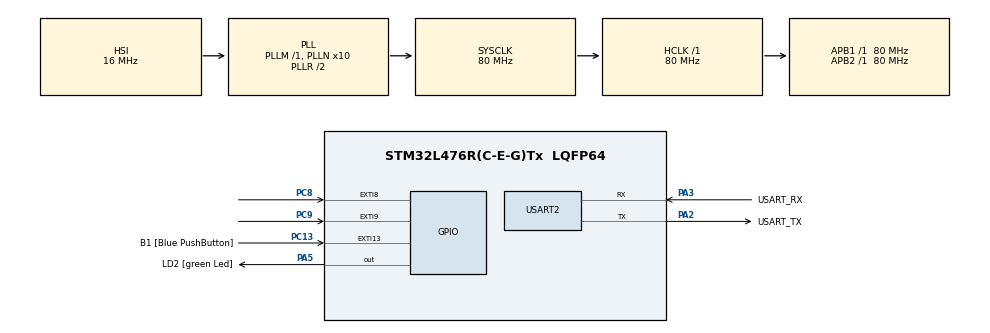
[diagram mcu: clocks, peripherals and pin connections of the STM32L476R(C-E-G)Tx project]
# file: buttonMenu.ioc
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Mcu.Family=STM32L4
Mcu.Name=STM32L476R(C-E-G)Tx
Mcu.Package=LQFP64
NVIC.EXTI9_5_IRQn=true\:0\:0\:false\:false\:true\:true\:true\:true
NVIC.PriorityGroup=NVIC_PRIORITYGROUP_4
NVIC.USART2_IRQn=true\:0\:0\:false\:false\:true\:true\:true\:true
PA13\ (JTMS-SWDIO).GPIO_Label=TMS
PA13\ (JTMS-SWDIO).Signal=SYS_JTMS-SWDIO
PA14\ (JTCK-SWCLK).GPIO_Label=TCK
PA14\ (JTCK-SWCLK).Signal=SYS_JTCK-SWCLK
PA2.GPIO_Label=USART_TX
PA2.GPIO_Mode=GPIO_MODE_AF_PP
PA2.GPIO_PuPd=GPIO_NOPULL
PA2.GPIO_Speed=GPIO_SPEED_FREQ_VERY_HIGH
PA2.Mode=Asynchronous
PA2.Signal=USART2_TX
PA3.GPIO_Label=USART_RX
PA3.GPIO_Mode=GPIO_MODE_AF_PP
PA3.GPIO_PuPd=GPIO_NOPULL
PA3.GPIO_Speed=GPIO_SPEED_FREQ_VERY_HIGH
PA3.Mode=Asynchronous
PA3.Signal=USART2_RX
PA5.GPIO_Label=LD2 [green Led]
PA5.GPIO_ModeDefaultOutputPP=GPIO_MODE_OUTPUT_PP
PA5.GPIO_PuPd=GPIO_NOPULL
PA5.GPIO_Speed=GPIO_SPEED_FREQ_LOW
PA5.Signal=GPIO_Output
PB3\ (JTDO-TRACESWO).GPIO_Label=SWO
PB3\ (JTDO-TRACESWO).Signal=SYS_JTDO-SWO
PC13.GPIO_Label=B1 [Blue PushButton]
PC13.GPIO_ModeDefaultEXTI=GPIO_MODE_IT_FALLING
PC13.GPIO_PuPd=GPIO_NOPULL
PC13.Signal=GPXTI13
PC14-OSC32_IN\ (PC14).Signal=RCC_OSC32_IN
PC15-OSC32_OUT\ (PC15).Signal=RCC_OSC32_OUT
PC8.GPIO_ModeDefaultEXTI=GPIO_MODE_IT_FALLING
PC8.Signal=GPXTI8
PC9.GPIO_ModeDefaultEXTI=GPIO_MODE_IT_FALLING
PC9.Signal=GPXTI9
PH0-OSC_IN\ (PH0).Signal=RCC_OSC_IN
PH1-OSC_OUT\ (PH1).Signal=RCC_OSC_OUT
ProjectManager.HeapSize=0x200
ProjectManager.StackSize=0x400
ProjectManager.TargetToolchain=STM32CubeIDE
RCC.ADCFreq_Value=64000000
RCC.AHBFreq_Value=80000000
RCC.APB1Freq_Value=80000000
RCC.APB1TimFreq_Value=80000000
RCC.APB2Freq_Value=80000000
RCC.APB2TimFreq_Value=80000000
RCC.CortexFreq_Value=80000000
RCC.HCLKFreq_Value=80000000
RCC.HSE_VALUE=8000000
RCC.HSI_VALUE=16000000
RCC.LSE_VALUE=32768
RCC.MSI_VALUE=4000000
RCC.PLLN=10
RCC.PLLSourceVirtual=RCC_PLLSOURCE_HSI
RCC.PREFETCH_ENABLE=1
RCC.SYSCLKFreq_VALUE=80000000
RCC.SYSCLKSource=RCC_SYSCLKSOURCE_PLLCLK
RCC.USBFreq_Value=64000000
RCC.VCOOutputFreq_Value=160000000
USART2.VirtualMode-Asynchronous=VM_ASYNC
board=NUCLEO-L476RG

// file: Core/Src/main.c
/* USER CODE BEGIN Header */
/**
  ******************************************************************************
  * @file           : main.c
  * @brief          : Main program body
  ******************************************************************************
  * @attention
  *
  * Copyright (c) 2026 STMicroelectronics.
  * All rights reserved.
  *
  * This software is licensed under terms that can be found in the LICENSE file
  * in the root directory of this software component.
  * If no LICENSE file comes with this software, it is provided AS-IS.
  *
  ******************************************************************************
  */
/* USER CODE END Header */
#include "main.h"

/* USER CODE BEGIN Includes */
#include <string.h>
/* USER CODE END Includes */

/* USER CODE BEGIN PTD */
enum dStates {PARK, REVERSE, NEUTRAL, DRIVE};	/* enumeration of states (C programming, p) */
/* USER CODE END PTD */

UART_HandleTypeDef huart2;

/* USER CODE BEGIN PV */
int dState = PARK;
/* USER CODE END PV */

void SystemClock_Config(void);
static void MX_GPIO_Init(void);
static void MX_USART2_UART_Init(void);

int main(void)
{

  /* USER CODE BEGIN 1 */
	uint8_t gear[22];

  /* USER CODE END 1 */

  /* MCU Configuration--------------------------------------------------------*/

  /* Reset of all peripherals, Initializes the Flash interface and the Systick. */
  HAL_Init();

  /* Configure the system clock */
  SystemClock_Config();

  /* Initialize all configured peripherals */
  MX_GPIO_Init();
  MX_USART2_UART_Init();

  /* Infinite loop */
  /* USER CODE BEGIN WHILE */
  while (1)
  {
	  switch (dState) {
	  	  case PARK:
	  		  strcpy((char*)gear, "Park\r\n");
	  		  break;
	  	  case REVERSE:
	  		  strcpy((char*)gear, "Reverse\r\n");
	  		  		  break;
	  	  case NEUTRAL:
	  	  		  strcpy((char*)gear, "Neutral\r\n");
	  	  		  break;
	  	  case DRIVE:
	  	  		strcpy((char*)gear, "Drive\r\n");
	  	  		break;
	  	  default:
	  		  strcpy((char*)gear, "Something is wrong\r\n");  // In this case, this should not ever be executed. Try misspelling one of the states...(the compiler will catch that).
	  		  break;
	  	  }
	  	  HAL_UART_Transmit(&huart2, (uint8_t*)gear, strlen((char*)gear), HAL_MAX_DELAY);
    /* USER CODE END WHILE */

  }
}

void SystemClock_Config(void)
{
  RCC_OscInitTypeDef RCC_OscInitStruct = {0};
  RCC_ClkInitTypeDef RCC_ClkInitStruct = {0};

  /** Configure the main internal regulator output voltage
  */
  if (HAL_PWREx_ControlVoltageScaling(PWR_REGULATOR_VOLTAGE_SCALE1) != HAL_OK)
  {
    Error_Handler();
  }

  /** Initializes the RCC Oscillators according to the specified parameters
  * in the RCC_OscInitTypeDef structure.
  */
  RCC_OscInitStruct.OscillatorType = RCC_OSCILLATORTYPE_HSI;
  RCC_OscInitStruct.HSIState = RCC_HSI_ON;
  RCC_OscInitStruct.HSICalibrationValue = RCC_HSICALIBRATION_DEFAULT;
  RCC_OscInitStruct.PLL.PLLState = RCC_PLL_ON;
  RCC_OscInitStruct.PLL.PLLSource = RCC_PLLSOURCE_HSI;
  RCC_OscInitStruct.PLL.PLLM = 1;
  RCC_OscInitStruct.PLL.PLLN = 10;
  RCC_OscInitStruct.PLL.PLLP = RCC_PLLP_DIV7;
  RCC_OscInitStruct.PLL.PLLQ = RCC_PLLQ_DIV2;
  RCC_OscInitStruct.PLL.PLLR = RCC_PLLR_DIV2;
  if (HAL_RCC_OscConfig(&RCC_OscInitStruct) != HAL_OK)
  {
    Error_Handler();
  }

  /** Initializes the CPU, AHB and APB buses clocks
  */
  RCC_ClkInitStruct.ClockType = RCC_CLOCKTYPE_HCLK|RCC_CLOCKTYPE_SYSCLK
                              |RCC_CLOCKTYPE_PCLK1|RCC_CLOCKTYPE_PCLK2;
  RCC_ClkInitStruct.SYSCLKSource = RCC_SYSCLKSOURCE_PLLCLK;
  RCC_ClkInitStruct.AHBCLKDivider = RCC_SYSCLK_DIV1;
  RCC_ClkInitStruct.APB1CLKDivider = RCC_HCLK_DIV1;
  RCC_ClkInitStruct.APB2CLKDivider = RCC_HCLK_DIV1;

  if (HAL_RCC_ClockConfig(&RCC_ClkInitStruct, FLASH_LATENCY_4) != HAL_OK)
  {
    Error_Handler();
  }
}

static void MX_USART2_UART_Init(void)
{

  huart2.Instance = USART2;
  huart2.Init.BaudRate = 115200;
  huart2.Init.WordLength = UART_WORDLENGTH_8B;
  huart2.Init.StopBits = UART_STOPBITS_1;
  huart2.Init.Parity = UART_PARITY_NONE;
  huart2.Init.Mode = UART_MODE_TX_RX;
  huart2.Init.HwFlowCtl = UART_HWCONTROL_NONE;
  huart2.Init.OverSampling = UART_OVERSAMPLING_16;
  huart2.Init.OneBitSampling = UART_ONE_BIT_SAMPLE_DISABLE;
  huart2.AdvancedInit.AdvFeatureInit = UART_ADVFEATURE_NO_INIT;
  if (HAL_UART_Init(&huart2) != HAL_OK)
  {
    Error_Handler();
  }

}

static void MX_GPIO_Init(void)
{
  GPIO_InitTypeDef GPIO_InitStruct = {0};

  /* GPIO Ports Clock Enable */
  __HAL_RCC_GPIOC_CLK_ENABLE();
  __HAL_RCC_GPIOH_CLK_ENABLE();
  __HAL_RCC_GPIOA_CLK_ENABLE();
  __HAL_RCC_GPIOB_CLK_ENABLE();

  /*Configure GPIO pin Output Level */
  HAL_GPIO_WritePin(LD2_GPIO_Port, LD2_Pin, GPIO_PIN_RESET);

  /*Configure GPIO pins : B1_Pin PC8 PC9 */
  GPIO_InitStruct.Pin = B1_Pin|GPIO_PIN_8|GPIO_PIN_9;
  GPIO_InitStruct.Mode = GPIO_MODE_IT_FALLING;
  GPIO_InitStruct.Pull = GPIO_NOPULL;
  HAL_GPIO_Init(GPIOC, &GPIO_InitStruct);

  /*Configure GPIO pin : LD2_Pin */
  GPIO_InitStruct.Pin = LD2_Pin;
  GPIO_InitStruct.Mode = GPIO_MODE_OUTPUT_PP;
  GPIO_InitStruct.Pull = GPIO_NOPULL;
  GPIO_InitStruct.Speed = GPIO_SPEED_FREQ_LOW;
  HAL_GPIO_Init(LD2_GPIO_Port, &GPIO_InitStruct);

  /* EXTI interrupt init*/
  HAL_NVIC_SetPriority(EXTI9_5_IRQn, 0, 0);
  HAL_NVIC_EnableIRQ(EXTI9_5_IRQn);

}

/* USER CODE BEGIN 4 */
void HAL_GPIO_EXTI_Callback(uint16_t GPIO_PIN){
	if(GPIO_PIN == GPIO_PIN_9){
		if (++dState > DRIVE){
				dState = PARK;
			  }
	}
	else if(GPIO_PIN == GPIO_PIN_8){
		if (--dState < PARK){
				dState = DRIVE;
			}
		}
	HAL_GPIO_TogglePin(GPIOA, GPIO_PIN_5);			// If so, toggle the LED;

}

/* USER CODE END 4 */

void Error_Handler(void)
{
  __disable_irq();
  while (1)
  {
  }
}
